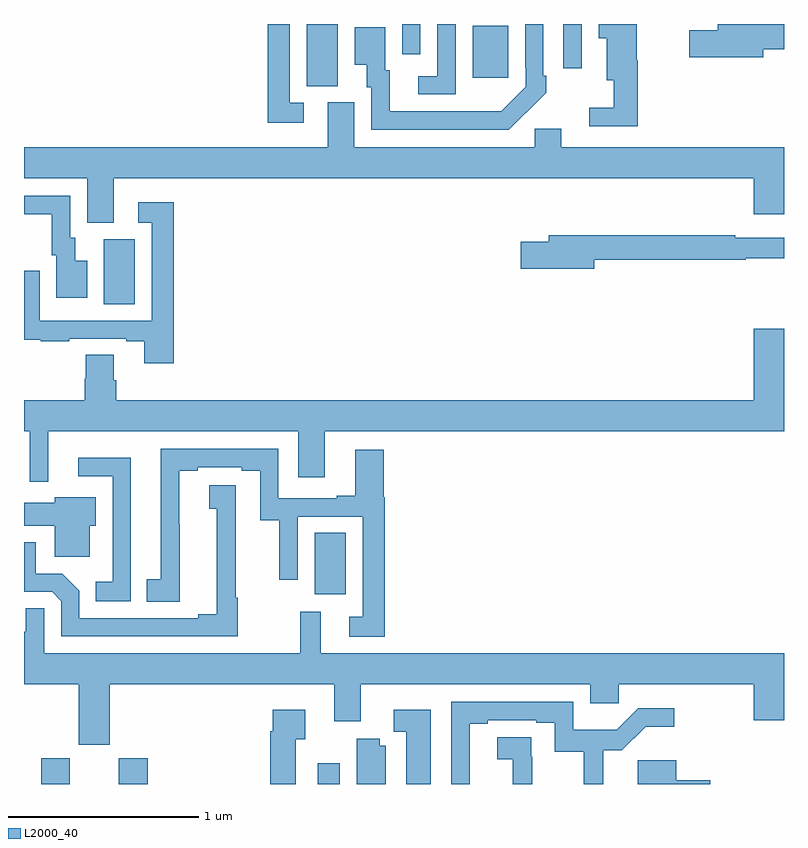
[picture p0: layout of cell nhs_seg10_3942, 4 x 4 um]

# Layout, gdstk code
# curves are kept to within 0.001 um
import gdstk
lib = gdstk.Library(unit=1e-6, precision=1e-09)
def R(c, l, rs):  # rectangles x0, y0, x1, y1
    for r in rs: c.add(gdstk.rectangle(r[:2], r[2:], *l))
def P(c, l, *ps):  # polygons
    for p in ps: c.add(gdstk.Polygon(p, *l))
L2000_40 = (2000, 40)

nhs_seg10_3942 = lib.new_cell('nhs_seg10_3942')
R(nhs_seg10_3942, L2000_40, [(329.09,1258.5,329.242,1258.635), (329.498,1258.5,329.651,1258.635), (330.546,1258.5,330.663,1258.609), (330.53,1259.499,330.694,1259.822), (329.42,1261.024,329.584,1261.368), (330.488,1262.173,330.652,1262.5), (331.361,1262.217,331.549,1262.491), (331.839,1262.268,331.935,1262.5), (330.99,1262.34,331.086,1262.5)])
P(nhs_seg10_3942, L2000_40, [(332.89,1262.368),(333,1262.368),(333,1262.5),(332.651,1262.5),(332.651,1262.468),(332.502,1262.468),(332.502,1262.326),(332.89,1262.326)],
  [(332.231,1262.308),(332.224,1262.308),(332.224,1262.5),(332.024,1262.5),(332.024,1262.426),(332.066,1262.426),(332.066,1262.204),(332.103,1262.204),(332.103,1262.059),(331.974,1262.059),(331.974,1261.962),(332.231,1261.962)],
  [(331.272,1262.5),(331.176,1262.5),(331.176,1262.226),(331.074,1262.226),(331.074,1262.13),(331.272,1262.13)],
  [(331.643,1262.035),(331.644,1262.034),(331.749,1262.139),(331.749,1262.227),(331.734,1262.227),(331.734,1262.5),(331.638,1262.5),(331.638,1262.269),(331.641,1262.269),(331.641,1262.169),(331.513,1262.041),(330.925,1262.04),(330.925,1262.256),(330.901,1262.256),(330.901,1262.482),(330.74,1262.482),(330.74,1262.285),(330.803,1262.285),(330.803,1262.166),(330.828,1262.166),(330.828,1261.944),(331.552,1261.944)],
  [(330.472,1262.085),(330.399,1262.085),(330.399,1262.5),(330.283,1262.5),(330.283,1261.98),(330.472,1261.98)],
  [(329.473,1261.688),(332.84,1261.688),(332.84,1261.5),(333,1261.5),(333,1261.852),(331.828,1261.852),(331.828,1261.95),(331.689,1261.95),(331.689,1261.852),(330.739,1261.852),(330.739,1262.088),(330.599,1262.088),(330.599,1261.852),(329,1261.852),(329,1261.688),(329.333,1261.688),(329.333,1261.453),(329.473,1261.453)],
  [(329.332,1261.255),(329.269,1261.255),(329.269,1261.374),(329.244,1261.374),(329.244,1261.596),(329,1261.596),(329,1261.5),(329.147,1261.5),(329.147,1261.284),(329.171,1261.284),(329.171,1261.059),(329.332,1261.059)],
  [(329.789,1261.561),(329.601,1261.561),(329.601,1261.455),(329.673,1261.455),(329.673,1260.939),(329.082,1260.939),(329.082,1261.201),(329,1261.201),(329,1260.837),(329.089,1260.837),(329.089,1260.831),(329.237,1260.831),(329.237,1260.843),(329.537,1260.843),(329.537,1260.831),(329.633,1260.831),(329.633,1260.714),(329.789,1260.714)],
  [(332.002,1261.258),(332.798,1261.258),(332.798,1261.266),(333,1261.266),(333,1261.374),(332.744,1261.374),(332.744,1261.387),(331.763,1261.387),(331.763,1261.353),(331.614,1261.353),(331.614,1261.211),(332.002,1261.211)],
  [(329.128,1260.356),(330.443,1260.356),(330.443,1260.114),(330.583,1260.114),(330.583,1260.356),(333,1260.356),(333,1260.895),(332.84,1260.895),(332.84,1260.52),(329.486,1260.52),(329.486,1260.626),(329.473,1260.626),(329.473,1260.758),(329.326,1260.758),(329.326,1260.633),(329.321,1260.633),(329.321,1260.52),(329,1260.52),(329,1260.356),(329.03,1260.356),(329.03,1260.09),(329.128,1260.09)],
  [(330.899,1260.01),(330.893,1260.01),(330.893,1260.259),(330.743,1260.259),(330.743,1260.016),(330.647,1260.016),(330.647,1260.003),(330.339,1260.003),(330.339,1260.264),(329.72,1260.264),(329.72,1259.577),(329.647,1259.577),(329.647,1259.458),(329.819,1259.458),(329.819,1259.867),(329.818,1259.867),(329.818,1260.148),(329.914,1260.148),(329.914,1260.168),(330.146,1260.168),(330.146,1260.148),(330.243,1260.148),(330.243,1259.887),(330.343,1259.887),(330.343,1259.574),(330.441,1259.574),(330.441,1259.907),(330.783,1259.907),(330.783,1259.379),(330.711,1259.379),(330.711,1259.274),(330.899,1259.274)],
  [(329.562,1259.666),(329.563,1259.666),(329.563,1260.217),(329.286,1260.217),(329.286,1260.12),(329.466,1260.12),(329.466,1259.564),(329.377,1259.564),(329.377,1259.463),(329.562,1259.463)],
  [(330.125,1259.48),(330.115,1259.48),(330.115,1260.073),(329.975,1260.073),(329.975,1259.948),(330.014,1259.948),(330.014,1259.393),(329.918,1259.393),(329.918,1259.373),(329.292,1259.373),(329.292,1259.517),(329.202,1259.607),(329.061,1259.607),(329.061,1259.773),(329,1259.773),(329,1259.511),(329.148,1259.511),(329.196,1259.463),(329.196,1259.277),(330.125,1259.277)],
  [(329.347,1259.858),(329.377,1259.858),(329.377,1260.01),(329.162,1260.01),(329.162,1259.98),(329,1259.98),(329,1259.858),(329.162,1259.858),(329.162,1259.696),(329.347,1259.696)],
  [(329.452,1259.024),(330.632,1259.024),(330.632,1258.83),(330.772,1258.83),(330.772,1259.024),(331.979,1259.024),(331.979,1258.926),(332.131,1258.926),(332.131,1259.024),(332.84,1259.024),(332.84,1258.836),(333,1258.836),(333,1259.188),(330.562,1259.188),(330.562,1259.407),(330.453,1259.407),(330.453,1259.188),(329.106,1259.188),(329.106,1259.426),(329.009,1259.426),(329.009,1259.301),(329,1259.301),(329,1259.024),(329.288,1259.024),(329.288,1258.707),(329.452,1258.707)],
  [(331.347,1258.553),(331.345,1258.553),(331.345,1258.816),(331.441,1258.816),(331.441,1258.836),(331.697,1258.836),(331.697,1258.822),(331.794,1258.822),(331.794,1258.669),(331.945,1258.669),(331.945,1258.5),(332.048,1258.5),(332.048,1258.677),(332.147,1258.677),(332.273,1258.802),(332.422,1258.802),(332.422,1258.899),(332.232,1258.899),(332.119,1258.786),(331.89,1258.786),(331.89,1258.932),(331.248,1258.932),(331.248,1258.5),(331.347,1258.5)],
  [(330.43,1258.735),(330.481,1258.735),(330.481,1258.891),(330.308,1258.891),(330.308,1258.778),(330.296,1258.778),(330.296,1258.5),(330.43,1258.5)],
  [(331.141,1258.891),(330.945,1258.891),(330.945,1258.776),(331.013,1258.776),(331.013,1258.5),(331.141,1258.5)],
  [(331.676,1258.643),(331.67,1258.643),(331.67,1258.745),(331.491,1258.745),(331.491,1258.63),(331.573,1258.63),(331.573,1258.5),(331.676,1258.5)],
  [(330.904,1258.702),(330.872,1258.702),(330.872,1258.739),(330.752,1258.739),(330.752,1258.5),(330.904,1258.5)],
  [(332.611,1258.519),(332.434,1258.519),(332.434,1258.624),(332.231,1258.624),(332.231,1258.5),(332.611,1258.5)])

lib.write_gds('nhs_seg10_3942.gds')
